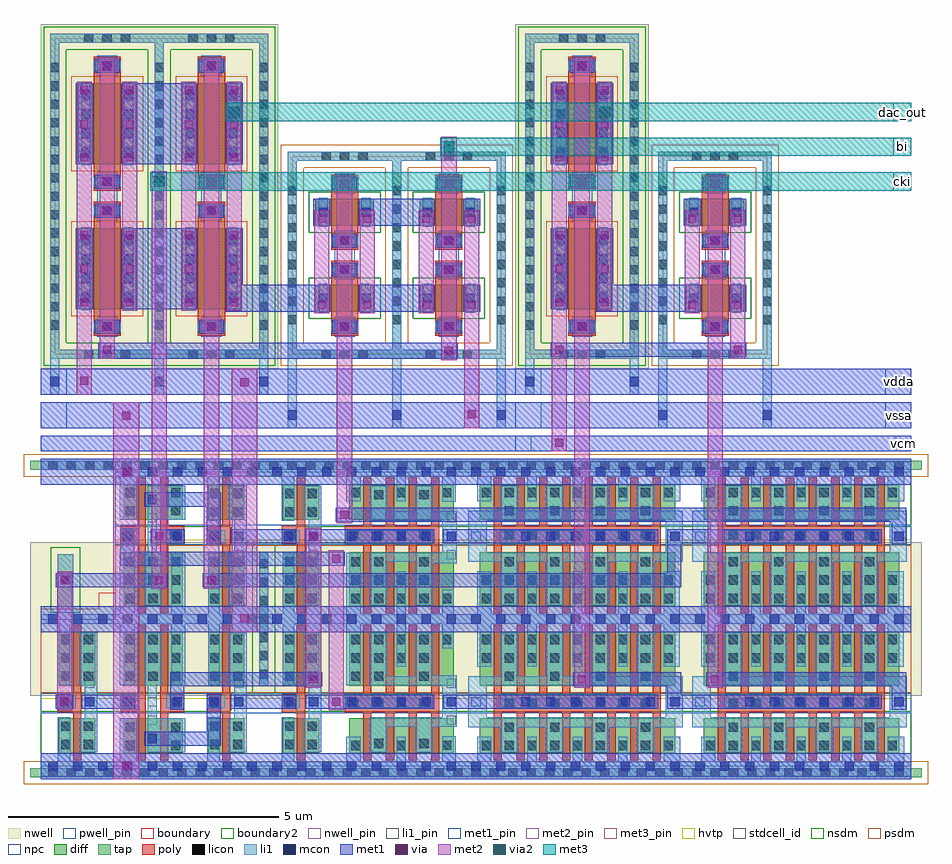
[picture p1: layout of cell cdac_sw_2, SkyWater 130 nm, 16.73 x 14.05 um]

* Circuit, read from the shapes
.subckt cdac_sw_2 bi cki dac_out vcm vdda vssa
XM1 nooverlap_clk_0/sky130_fd_sc_hd__nand2_1_1/B cki vssa vssa sky130_fd_pr__nfet_01v8 w=0.65 l=0.15
XM2 n1 nooverlap_clk_0/sky130_fd_sc_hd__nand2_1_1/B vssa vssa sky130_fd_pr__nfet_01v8 w=0.65 l=0.15
XM3 n2 nooverlap_clk_0/sky130_fd_sc_hd__inv_4_8/A vssa vssa sky130_fd_pr__nfet_01v8 w=0.65 l=0.15
XM4 nooverlap_clk_0/sky130_fd_sc_hd__inv_1_4/A nooverlap_clk_0/sky130_fd_sc_hd__inv_4_7/A n1 vssa sky130_fd_pr__nfet_01v8 w=0.65 l=0.15
XM5 nooverlap_clk_0/sky130_fd_sc_hd__inv_1_3/A cki n2 vssa sky130_fd_pr__nfet_01v8 w=0.65 l=0.15
XM6 nooverlap_clk_0/sky130_fd_sc_hd__inv_1_6/A nooverlap_clk_0/sky130_fd_sc_hd__inv_1_4/A vssa vssa sky130_fd_pr__nfet_01v8 w=0.65 l=0.15
XM7 nooverlap_clk_0/sky130_fd_sc_hd__inv_1_5/A nooverlap_clk_0/sky130_fd_sc_hd__inv_1_3/A vssa vssa sky130_fd_pr__nfet_01v8 w=0.65 l=0.15
XM8 nooverlap_clk_0/sky130_fd_sc_hd__inv_4_8/A nooverlap_clk_0/sky130_fd_sc_hd__inv_1_6/A vssa vssa sky130_fd_pr__nfet_01v8 w=0.65 l=0.15
XM9 nooverlap_clk_0/sky130_fd_sc_hd__inv_4_7/A nooverlap_clk_0/sky130_fd_sc_hd__inv_1_5/A vssa vssa sky130_fd_pr__nfet_01v8 w=0.65 l=0.15
XM10 n3 dac_sw_2_1/ck dac_out vssa sky130_fd_pr__nfet_01v8 w=0.5 l=0.5 m=2
XM11 nooverlap_clk_0/sky130_fd_sc_hd__inv_8_10/A nooverlap_clk_0/sky130_fd_sc_hd__inv_4_8/A vssa vssa sky130_fd_pr__nfet_01v8 w=0.65 l=0.15 m=4
XM12 nooverlap_clk_0/sky130_fd_sc_hd__inv_8_9/A nooverlap_clk_0/sky130_fd_sc_hd__inv_4_7/A vssa vssa sky130_fd_pr__nfet_01v8 w=0.65 l=0.15 m=4
XM13 vssa bi n3 vssa sky130_fd_pr__nfet_01v8 w=0.5 l=0.5 m=2
XM14 nooverlap_clk_0/clkb1 nooverlap_clk_0/sky130_fd_sc_hd__inv_8_10/A vssa vssa sky130_fd_pr__nfet_01v8 w=0.65 l=0.15 m=8
XM15 dac_sw_2_1/ckb nooverlap_clk_0/sky130_fd_sc_hd__inv_8_9/A vssa vssa sky130_fd_pr__nfet_01v8 w=0.65 l=0.15 m=8
XM16 vcm nooverlap_clk_0/clk1 dac_out vssa sky130_fd_pr__nfet_01v8 w=0.5 l=0.5 m=2
XM17 nooverlap_clk_0/clk1 nooverlap_clk_0/clkb1 vssa vssa sky130_fd_pr__nfet_01v8 w=0.65 l=0.15 m=8
XM18 dac_sw_2_1/ck dac_sw_2_1/ckb vssa vssa sky130_fd_pr__nfet_01v8 w=0.65 l=0.15 m=8
XM19 nooverlap_clk_0/sky130_fd_sc_hd__nand2_1_1/B cki vdda vdda sky130_fd_pr__pfet_01v8_hvt w=1 l=0.15
XM20 n4 bi vdda vdda sky130_fd_pr__pfet_01v8 w=1.5 l=0.5 m=2
XM21 nooverlap_clk_0/sky130_fd_sc_hd__inv_1_4/A nooverlap_clk_0/sky130_fd_sc_hd__nand2_1_1/B vdda vdda sky130_fd_pr__pfet_01v8_hvt w=1 l=0.15
XM22 nooverlap_clk_0/sky130_fd_sc_hd__inv_1_3/A nooverlap_clk_0/sky130_fd_sc_hd__inv_4_8/A vdda vdda sky130_fd_pr__pfet_01v8_hvt w=1 l=0.15
XM23 vdda nooverlap_clk_0/sky130_fd_sc_hd__inv_4_7/A nooverlap_clk_0/sky130_fd_sc_hd__inv_1_4/A vdda sky130_fd_pr__pfet_01v8_hvt w=1 l=0.15
XM24 vdda cki nooverlap_clk_0/sky130_fd_sc_hd__inv_1_3/A vdda sky130_fd_pr__pfet_01v8_hvt w=1 l=0.15
XM25 dac_out dac_sw_2_1/ckb n4 vdda sky130_fd_pr__pfet_01v8 w=1.5 l=0.5 m=2
XM26 nooverlap_clk_0/sky130_fd_sc_hd__inv_1_6/A nooverlap_clk_0/sky130_fd_sc_hd__inv_1_4/A vdda vdda sky130_fd_pr__pfet_01v8_hvt w=1 l=0.15
XM27 nooverlap_clk_0/sky130_fd_sc_hd__inv_1_5/A nooverlap_clk_0/sky130_fd_sc_hd__inv_1_3/A vdda vdda sky130_fd_pr__pfet_01v8_hvt w=1 l=0.15
XM28 nooverlap_clk_0/sky130_fd_sc_hd__inv_4_8/A nooverlap_clk_0/sky130_fd_sc_hd__inv_1_6/A vdda vdda sky130_fd_pr__pfet_01v8_hvt w=1 l=0.15
XM29 nooverlap_clk_0/sky130_fd_sc_hd__inv_4_7/A nooverlap_clk_0/sky130_fd_sc_hd__inv_1_5/A vdda vdda sky130_fd_pr__pfet_01v8_hvt w=1 l=0.15
XM30 nooverlap_clk_0/sky130_fd_sc_hd__inv_8_10/A nooverlap_clk_0/sky130_fd_sc_hd__inv_4_8/A vdda vdda sky130_fd_pr__pfet_01v8_hvt w=1 l=0.15 m=4
XM31 nooverlap_clk_0/sky130_fd_sc_hd__inv_8_9/A nooverlap_clk_0/sky130_fd_sc_hd__inv_4_7/A vdda vdda sky130_fd_pr__pfet_01v8_hvt w=1 l=0.15 m=4
XM32 nooverlap_clk_0/clkb1 nooverlap_clk_0/sky130_fd_sc_hd__inv_8_10/A vdda vdda sky130_fd_pr__pfet_01v8_hvt w=1 l=0.15 m=8
XM33 dac_sw_2_1/ckb nooverlap_clk_0/sky130_fd_sc_hd__inv_8_9/A vdda vdda sky130_fd_pr__pfet_01v8_hvt w=1 l=0.15 m=8
XM34 dac_out nooverlap_clk_0/clkb1 vcm vdda sky130_fd_pr__pfet_01v8 w=1.5 l=0.5 m=2
XM35 nooverlap_clk_0/clk1 nooverlap_clk_0/clkb1 vdda vdda sky130_fd_pr__pfet_01v8_hvt w=1 l=0.15 m=8
XM36 dac_sw_2_1/ck dac_sw_2_1/ckb vdda vdda sky130_fd_pr__pfet_01v8_hvt w=1 l=0.15 m=8
.ends

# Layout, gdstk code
import gdstk
lib = gdstk.Library(unit=1e-6, precision=1e-09)
def R(c, l, rs):  # rectangles x0, y0, x1, y1
    for r in rs: c.add(gdstk.rectangle(r[:2], r[2:], *l))
def A(c, l, x, y, w, h, nx, ny, dx, dy):  # array of equal rectangles
    R(c, l, [(x+i*dx, y+j*dy, x+i*dx+w, y+j*dy+h) for i in range(nx) for j in range(ny)])
def P(c, l, *ps):  # polygons
    for p in ps: c.add(gdstk.Polygon(p, *l))
nwell_pin = (64, 16)
nwell = (64, 20)
diff = (65, 20)
tap = (65, 44)
poly = (66, 20)
licon = (66, 44)
li1_pin = (67, 16)
li1 = (67, 20)
mcon = (67, 44)
met1_pin = (68, 16)
met1 = (68, 20)
via = (68, 44)
met2_pin = (69, 16)
met2 = (69, 20)
via2 = (69, 44)
met3_pin = (70, 16)
met3 = (70, 20)
hvtp = (78, 44)
stdcell_id = (81, 4)
nsdm = (93, 44)
psdm = (94, 20)
npc = (95, 20)
pwell_pin = (122, 16)
boundary = (235, 4)
boundary2 = (236, 0)

sky130_fd_sc_hd__nand2_1 = lib.new_cell('sky130_fd_sc_hd__nand2_1')
R(sky130_fd_sc_hd__nand2_1, nwell_pin, [(0.14,2.635,0.31,2.805)])
R(sky130_fd_sc_hd__nand2_1, nwell, [(-0.19,1.305,1.57,2.91)])
R(sky130_fd_sc_hd__nand2_1, diff, [(0.155,0.235,1.245,0.885), (0.155,1.485,1.245,2.485)])
P(sky130_fd_sc_hd__nand2_1, poly, [(1.275,1.325),(0.985,1.325),(0.985,2.615),(0.835,2.615),(0.835,0.105),(0.985,0.105),(0.985,0.995),(1.275,0.995)],
  [(0.565,2.615),(0.415,2.615),(0.415,1.325),(0.105,1.325),(0.105,0.995),(0.415,0.995),(0.415,0.105),(0.565,0.105)])
A(sky130_fd_sc_hd__nand2_1, licon, 0.195, 1.575, 0.17, 0.17, 3, 3, 0.42, 0.34)
R(sky130_fd_sc_hd__nand2_1, licon, [(0.195,0.295,0.365,0.465), (1.035,0.295,1.205,0.465), (0.195,0.635,0.365,0.805), (1.035,0.635,1.205,0.805), (0.18,1.075,0.35,1.245), (1.02,1.075,1.19,1.245)])
A(sky130_fd_sc_hd__nand2_1, li1_pin, 0.14, 1.105, 0.17, 0.17, 3, 1, 0.46, 0)
R(sky130_fd_sc_hd__nand2_1, li1_pin, [(0.6,0.425,0.77,0.595), (0.6,0.765,0.77,0.935)])
R(sky130_fd_sc_hd__nand2_1, li1, [(0.095,1.055,0.43,1.325), (0.94,1.075,1.275,1.325)])
P(sky130_fd_sc_hd__nand2_1, li1, [(1.38,0.085),(0.395,0.085),(0.395,0.885),(0.085,0.885),(0.085,0.085),(0,0.085),(0,-0.085),(1.38,-0.085)],
  [(1.38,2.805),(0,2.805),(0,2.635),(0.085,2.635),(0.085,1.495),(0.365,1.495),(0.365,2.635),(1.035,2.635),(1.035,1.495),(1.295,1.495),(1.295,2.635),(1.38,2.635)],
  [(1.295,0.885),(0.77,0.885),(0.77,1.485),(0.865,1.485),(0.865,2.465),(0.535,2.465),(0.535,1.485),(0.6,1.485),(0.6,0.255),(1.295,0.255)])
A(sky130_fd_sc_hd__nand2_1, mcon, 0.145, -0.085, 0.17, 0.17, 3, 2, 0.46, 2.72)
R(sky130_fd_sc_hd__nand2_1, met1_pin, [(0.14,-0.085,0.31,0.085), (0.14,2.635,0.31,2.805)])
R(sky130_fd_sc_hd__nand2_1, hvtp, [(0,1.25,1.38,2.72)])
R(sky130_fd_sc_hd__nand2_1, stdcell_id, [(0,0,1.38,2.72)])
R(sky130_fd_sc_hd__nand2_1, nsdm, [(0,-0.19,1.38,1.015)])
R(sky130_fd_sc_hd__nand2_1, psdm, [(0,1.355,1.38,2.91)])
R(sky130_fd_sc_hd__nand2_1, npc, [(0,0.975,1.38,1.345)])
R(sky130_fd_sc_hd__nand2_1, pwell_pin, [(0.14,-0.085,0.31,0.085)])
R(sky130_fd_sc_hd__nand2_1, boundary2, [(0,0,1.38,2.72)])
sky130_fd_sc_hd__nand2_1.add(gdstk.FlexPath([(0,2.72),(1.38,2.72)], 0.48, ends="flush", simple_path=True, layer=68, datatype=20))  # met1
sky130_fd_sc_hd__nand2_1.add(gdstk.FlexPath([(0,0),(1.38,0)], 0.48, ends="flush", simple_path=True, layer=68, datatype=20))  # met1
sky130_fd_sc_hd__nand2_1.add(gdstk.Label('Y', (0.685,0.51), layer=67, texttype=5))
sky130_fd_sc_hd__nand2_1.add(gdstk.Label('Y', (0.685,0.85), layer=67, texttype=5))
sky130_fd_sc_hd__nand2_1.add(gdstk.Label('Y', (0.685,1.19), layer=67, texttype=5))
sky130_fd_sc_hd__nand2_1.add(gdstk.Label('B', (0.225,1.19), layer=67, texttype=5))
sky130_fd_sc_hd__nand2_1.add(gdstk.Label('A', (1.145,1.19), layer=67, texttype=5))
sky130_fd_sc_hd__nand2_1.add(gdstk.Label('VPB', (0.225,2.72), layer=64, texttype=5))
sky130_fd_sc_hd__nand2_1.add(gdstk.Label('VNB', (0.225,0), layer=64, texttype=59))
sky130_fd_sc_hd__nand2_1.add(gdstk.Label('VGND', (0.23,0), layer=68, texttype=5))
sky130_fd_sc_hd__nand2_1.add(gdstk.Label('VPWR', (0.225,2.72), layer=68, texttype=5))
sky130_fd_sc_hd__nand2_1.add(gdstk.Label('nand2_1', (0,0), layer=83, texttype=44))

sky130_fd_sc_hd__inv_1 = lib.new_cell('sky130_fd_sc_hd__inv_1')
R(sky130_fd_sc_hd__inv_1, nwell_pin, [(0.145,2.635,0.315,2.805), (0.145,2.635,0.315,2.805)])
R(sky130_fd_sc_hd__inv_1, nwell, [(-0.19,1.305,1.57,2.91)])
R(sky130_fd_sc_hd__inv_1, diff, [(0.34,0.235,1.01,0.885), (0.34,1.485,1.01,2.485)])
P(sky130_fd_sc_hd__inv_1, poly, [(0.75,2.615),(0.6,2.615),(0.6,1.325),(0.32,1.325),(0.32,0.995),(0.6,0.995),(0.6,0.105),(0.75,0.105)])
A(sky130_fd_sc_hd__inv_1, licon, 0.38, 1.575, 0.17, 0.17, 1, 3, 0, 0.34)
A(sky130_fd_sc_hd__inv_1, licon, 0.8, 1.575, 0.17, 0.17, 1, 3, 0, 0.34)
R(sky130_fd_sc_hd__inv_1, licon, [(0.38,0.315,0.55,0.485), (0.8,0.315,0.97,0.485), (0.38,0.655,0.55,0.825), (0.8,0.655,0.97,0.825), (0.4,1.075,0.57,1.245)])
R(sky130_fd_sc_hd__inv_1, li1_pin, [(0.36,1.105,0.53,1.275), (0.82,1.105,0.99,1.275), (0.82,1.445,0.99,1.615)])
R(sky130_fd_sc_hd__inv_1, li1, [(0,-0.085,1.38,0.085), (0.32,0.005,0.55,0.905), (0.32,1.075,0.65,1.315), (0.34,1.495,0.55,2.675), (0,2.635,1.38,2.805)])
P(sky130_fd_sc_hd__inv_1, li1, [(1.05,2.465),(0.72,2.465),(0.72,1.485),(0.82,1.485),(0.82,0.885),(0.72,0.885),(0.72,0.255),(1.05,0.255)])
A(sky130_fd_sc_hd__inv_1, mcon, 0.145, -0.085, 0.17, 0.17, 3, 2, 0.46, 2.72)
R(sky130_fd_sc_hd__inv_1, met1_pin, [(0.145,-0.085,0.315,0.085), (0.145,-0.085,0.315,0.085), (0.145,2.635,0.315,2.805), (0.145,2.635,0.315,2.805)])
R(sky130_fd_sc_hd__inv_1, hvtp, [(0,1.25,1.38,2.72)])
R(sky130_fd_sc_hd__inv_1, stdcell_id, [(0,0,1.38,2.72)])
R(sky130_fd_sc_hd__inv_1, nsdm, [(0,-0.19,1.38,1.015)])
R(sky130_fd_sc_hd__inv_1, psdm, [(0,1.355,1.38,2.91)])
R(sky130_fd_sc_hd__inv_1, npc, [(0,0.975,1.38,1.345)])
R(sky130_fd_sc_hd__inv_1, pwell_pin, [(0.145,-0.085,0.315,0.085), (0.145,-0.085,0.315,0.085)])
R(sky130_fd_sc_hd__inv_1, boundary2, [(0,0,1.38,2.72)])
sky130_fd_sc_hd__inv_1.add(gdstk.FlexPath([(0,2.72),(1.38,2.72)], 0.48, ends="flush", simple_path=True, layer=68, datatype=20))  # met1
sky130_fd_sc_hd__inv_1.add(gdstk.FlexPath([(0,0),(1.38,0)], 0.48, ends="flush", simple_path=True, layer=68, datatype=20))  # met1
sky130_fd_sc_hd__inv_1.add(gdstk.Label('Y', (0.905,1.53), layer=67, texttype=5))
sky130_fd_sc_hd__inv_1.add(gdstk.Label('Y', (0.905,1.19), layer=67, texttype=5))
sky130_fd_sc_hd__inv_1.add(gdstk.Label('A', (0.445,1.19), layer=67, texttype=5))
sky130_fd_sc_hd__inv_1.add(gdstk.Label('VPB', (0.23,2.72), layer=64, texttype=5))
sky130_fd_sc_hd__inv_1.add(gdstk.Label('VNB', (0.23,0), layer=64, texttype=59))
sky130_fd_sc_hd__inv_1.add(gdstk.Label('VGND', (0.23,0), layer=68, texttype=5))
sky130_fd_sc_hd__inv_1.add(gdstk.Label('VPWR', (0.23,2.72), layer=68, texttype=5))
sky130_fd_sc_hd__inv_1.add(gdstk.Label('inv_1', (0,0), layer=83, texttype=44))

sky130_fd_sc_hd__inv_4 = lib.new_cell('sky130_fd_sc_hd__inv_4')
R(sky130_fd_sc_hd__inv_4, nwell_pin, [(0.145,2.635,0.315,2.805)])
R(sky130_fd_sc_hd__inv_4, nwell, [(-0.19,1.305,2.49,2.91)])
R(sky130_fd_sc_hd__inv_4, diff, [(0.185,0.235,2.115,0.885), (0.185,1.485,2.115,2.485)])
P(sky130_fd_sc_hd__inv_4, poly, [(1.855,2.615),(1.705,2.615),(1.705,1.325),(1.435,1.325),(1.435,2.615),(1.285,2.615),(1.285,1.325),(1.015,1.325),(1.015,2.615),(0.865,2.615),(0.865,1.325),(0.595,1.325),(0.595,2.615),(0.445,2.615),(0.445,1.325),(0.105,1.325),(0.105,0.995),(0.445,0.995),(0.445,0.105),(0.595,0.105),(0.595,0.995),(0.865,0.995),(0.865,0.105),(1.015,0.105),(1.015,0.995),(1.285,0.995),(1.285,0.105),(1.435,0.105),(1.435,0.995),(1.705,0.995),(1.705,0.105),(1.855,0.105)])
A(sky130_fd_sc_hd__inv_4, licon, 0.645, 1.075, 0.17, 0.17, 3, 1, 0.42, 0)
A(sky130_fd_sc_hd__inv_4, licon, 0.225, 1.915, 0.17, 0.17, 4, 1, 0.42, 0)
A(sky130_fd_sc_hd__inv_4, licon, 0.225, 2.255, 0.17, 0.17, 5, 1, 0.42, 0)
R(sky130_fd_sc_hd__inv_4, licon, [(0.225,0.295,0.395,0.465), (1.065,0.295,1.235,0.465), (1.905,0.3,2.075,0.47), (0.645,0.335,0.815,0.505), (1.485,0.335,1.655,0.505), (0.185,1.075,0.355,1.245), (0.225,1.575,0.395,1.745), (0.645,1.575,0.815,1.745), (1.485,1.575,1.655,1.745)])
A(sky130_fd_sc_hd__inv_4, li1_pin, 0.145, 1.105, 0.17, 0.17, 5, 1, 0.46, 0)
R(sky130_fd_sc_hd__inv_4, li1_pin, [(1.985,0.765,2.155,0.935), (1.985,1.445,2.155,1.615)])
R(sky130_fd_sc_hd__inv_4, li1, [(0.105,1.075,1.735,1.325)])
P(sky130_fd_sc_hd__inv_4, li1, [(2.3,0.085),(2.155,0.085),(2.155,0.55),(1.905,0.55),(1.905,0.085),(1.235,0.085),(1.235,0.545),(1.065,0.545),(1.065,0.085),(0.395,0.085),(0.395,0.545),(0.13,0.545),(0.13,0.085),(0,0.085),(0,-0.085),(2.3,-0.085)],
  [(2.3,2.805),(0,2.805),(0,2.635),(0.13,2.635),(0.13,1.495),(0.395,1.495),(0.395,2.635),(1.065,2.635),(1.065,1.835),(1.235,1.835),(1.235,2.635),(1.905,2.635),(1.905,2.175),(2.115,2.175),(2.115,2.635),(2.3,2.635)],
  [(2.17,1.685),(1.735,1.685),(1.735,2.465),(1.405,2.465),(1.405,1.665),(0.895,1.665),(0.895,2.465),(0.565,2.465),(0.565,1.495),(1.905,1.495),(1.905,0.905),(0.565,0.905),(0.565,0.255),(0.895,0.255),(0.895,0.725),(1.405,0.725),(1.405,0.255),(1.735,0.255),(1.735,0.725),(2.17,0.725)])
A(sky130_fd_sc_hd__inv_4, mcon, 0.145, -0.085, 0.17, 0.17, 5, 2, 0.46, 2.72)
R(sky130_fd_sc_hd__inv_4, met1_pin, [(0.145,-0.085,0.315,0.085), (0.145,2.635,0.315,2.805)])
R(sky130_fd_sc_hd__inv_4, hvtp, [(0,1.25,2.3,2.72)])
R(sky130_fd_sc_hd__inv_4, stdcell_id, [(0,0,2.3,2.72)])
R(sky130_fd_sc_hd__inv_4, nsdm, [(0,-0.19,2.3,1.015)])
R(sky130_fd_sc_hd__inv_4, psdm, [(0,1.355,2.3,2.91)])
R(sky130_fd_sc_hd__inv_4, npc, [(0,0.975,2.3,1.345)])
R(sky130_fd_sc_hd__inv_4, pwell_pin, [(0.145,-0.085,0.315,0.085)])
R(sky130_fd_sc_hd__inv_4, boundary2, [(0,0,2.3,2.72)])
sky130_fd_sc_hd__inv_4.add(gdstk.FlexPath([(0,2.72),(2.3,2.72)], 0.48, ends="flush", simple_path=True, layer=68, datatype=20))  # met1
sky130_fd_sc_hd__inv_4.add(gdstk.FlexPath([(0,0),(2.3,0)], 0.48, ends="flush", simple_path=True, layer=68, datatype=20))  # met1
sky130_fd_sc_hd__inv_4.add(gdstk.Label('Y', (2.07,0.85), layer=67, texttype=5))
sky130_fd_sc_hd__inv_4.add(gdstk.Label('Y', (2.07,1.19), layer=67, texttype=5))
sky130_fd_sc_hd__inv_4.add(gdstk.Label('Y', (2.07,1.53), layer=67, texttype=5))
sky130_fd_sc_hd__inv_4.add(gdstk.Label('A', (0.23,1.19), layer=67, texttype=5))
sky130_fd_sc_hd__inv_4.add(gdstk.Label('A', (0.69,1.19), layer=67, texttype=5))
sky130_fd_sc_hd__inv_4.add(gdstk.Label('A', (1.15,1.19), layer=67, texttype=5))
sky130_fd_sc_hd__inv_4.add(gdstk.Label('A', (1.61,1.19), layer=67, texttype=5))
sky130_fd_sc_hd__inv_4.add(gdstk.Label('VPB', (0.23,2.72), layer=64, texttype=5))
sky130_fd_sc_hd__inv_4.add(gdstk.Label('VNB', (0.23,0), layer=64, texttype=59))
sky130_fd_sc_hd__inv_4.add(gdstk.Label('VPWR', (0.23,2.72), layer=68, texttype=5))
sky130_fd_sc_hd__inv_4.add(gdstk.Label('VGND', (0.23,0), layer=68, texttype=5))
sky130_fd_sc_hd__inv_4.add(gdstk.Label('inv_4', (0,0), layer=83, texttype=44))

sky130_fd_sc_hd__inv_8 = lib.new_cell('sky130_fd_sc_hd__inv_8')
R(sky130_fd_sc_hd__inv_8, nwell_pin, [(0.145,2.635,0.315,2.805)])
R(sky130_fd_sc_hd__inv_8, nwell, [(-0.19,1.305,4.33,2.91)])
R(sky130_fd_sc_hd__inv_8, diff, [(0.3,0.235,3.91,0.885), (0.3,1.485,3.91,2.485)])
P(sky130_fd_sc_hd__inv_8, poly, [(3.65,2.615),(3.5,2.615),(3.5,1.325),(3.23,1.325),(3.23,2.615),(3.08,2.615),(3.08,1.325),(2.81,1.325),(2.81,2.615),(2.66,2.615),(2.66,1.325),(2.39,1.325),(2.39,2.615),(2.24,2.615),(2.24,1.325),(1.97,1.325),(1.97,2.615),(1.82,2.615),(1.82,1.325),(1.55,1.325),(1.55,2.615),(1.4,2.615),(1.4,1.325),(1.13,1.325),(1.13,2.615),(0.98,2.615),(0.98,1.325),(0.71,1.325),(0.71,2.615),(0.56,2.615),(0.56,0.105),(0.71,0.105),(0.71,0.995),(0.98,0.995),(0.98,0.105),(1.13,0.105),(1.13,0.995),(1.4,0.995),(1.4,0.105),(1.55,0.105),(1.55,0.995),(1.82,0.995),(1.82,0.105),(1.97,0.105),(1.97,0.995),(2.24,0.995),(2.24,0.105),(2.39,0.105),(2.39,0.995),(2.66,0.995),(2.66,0.105),(2.81,0.105),(2.81,0.995),(3.08,0.995),(3.08,0.105),(3.23,0.105),(3.23,0.995),(3.5,0.995),(3.5,0.105),(3.65,0.105)])
A(sky130_fd_sc_hd__inv_8, licon, 0.34, 0.295, 0.17, 0.17, 9, 2, 0.42, 1.62)
A(sky130_fd_sc_hd__inv_8, licon, 0.76, 0.635, 0.17, 0.17, 4, 2, 0.84, 0.94)
A(sky130_fd_sc_hd__inv_8, licon, 0.76, 1.075, 0.17, 0.17, 7, 1, 0.42, 0)
A(sky130_fd_sc_hd__inv_8, licon, 0.34, 2.255, 0.17, 0.17, 9, 1, 0.42, 0)
A(sky130_fd_sc_hd__inv_8, li1_pin, 1.065, 1.105, 0.17, 0.17, 7, 1, 0.46, 0)
R(sky130_fd_sc_hd__inv_8, li1_pin, [(0.145,1.105,0.315,1.275)])
R(sky130_fd_sc_hd__inv_8, li1, [(0.68,1.075,3.535,1.325)])
P(sky130_fd_sc_hd__inv_8, li1, [(4.055,1.665),(3.735,1.665),(3.735,0.905),(0.43,0.905),(0.43,1.495),(3.735,1.495),(3.735,1.665),(3.53,1.665),(3.53,2.465),(3.2,2.465),(3.2,1.665),(2.69,1.665),(2.69,2.465),(2.36,2.465),(2.36,1.665),(1.85,1.665),(1.85,2.465),(1.52,2.465),(1.52,1.665),(1.01,1.665),(1.01,2.465),(0.68,2.465),(0.68,1.665),(0.085,1.665),(0.085,0.715),(0.68,0.715),(0.68,0.255),(1.01,0.255),(1.01,0.715),(1.52,0.715),(1.52,0.255),(1.85,0.255),(1.85,0.715),(2.36,0.715),(2.36,0.255),(2.69,0.255),(2.69,0.715),(3.2,0.715),(3.2,0.255),(3.53,0.255),(3.53,0.715),(4.055,0.715)],
  [(4.14,0.085),(4.005,0.085),(4.005,0.545),(3.7,0.545),(3.7,0.085),(3.03,0.085),(3.03,0.545),(2.86,0.545),(2.86,0.085),(2.19,0.085),(2.19,0.545),(2.02,0.545),(2.02,0.085),(1.35,0.085),(1.35,0.545),(1.18,0.545),(1.18,0.085),(0.51,0.085),(0.51,0.545),(0.255,0.545),(0.255,0.085),(0,0.085),(0,-0.085),(4.14,-0.085)],
  [(4.14,2.805),(0,2.805),(0,2.635),(0.255,2.635),(0.255,1.835),(0.51,1.835),(0.51,2.635),(1.18,2.635),(1.18,1.835),(1.35,1.835),(1.35,2.635),(2.02,2.635),(2.02,1.835),(2.19,1.835),(2.19,2.635),(2.86,2.635),(2.86,1.835),(3.03,1.835),(3.03,2.635),(3.7,2.635),(3.7,1.835),(4,1.835),(4,2.635),(4.14,2.635)])
A(sky130_fd_sc_hd__inv_8, mcon, 0.145, -0.085, 0.17, 0.17, 9, 2, 0.46, 2.72)
R(sky130_fd_sc_hd__inv_8, met1_pin, [(0.145,-0.085,0.315,0.085), (0.145,2.635,0.315,2.805)])
R(sky130_fd_sc_hd__inv_8, hvtp, [(0,1.25,4.14,2.72)])
R(sky130_fd_sc_hd__inv_8, stdcell_id, [(0,0,4.14,2.72)])
R(sky130_fd_sc_hd__inv_8, nsdm, [(0,-0.19,4.14,1.015)])
R(sky130_fd_sc_hd__inv_8, psdm, [(0,1.355,4.14,2.91)])
R(sky130_fd_sc_hd__inv_8, npc, [(0,0.975,4.14,1.345)])
R(sky130_fd_sc_hd__inv_8, pwell_pin, [(0.145,-0.085,0.315,0.085)])
R(sky130_fd_sc_hd__inv_8, boundary2, [(0,0,4.14,2.72)])
sky130_fd_sc_hd__inv_8.add(gdstk.FlexPath([(0,2.72),(4.14,2.72)], 0.48, ends="flush", simple_path=True, layer=68, datatype=20))  # met1
sky130_fd_sc_hd__inv_8.add(gdstk.FlexPath([(0,0),(4.14,0)], 0.48, ends="flush", simple_path=True, layer=68, datatype=20))  # met1
sky130_fd_sc_hd__inv_8.add(gdstk.Label('A', (1.15,1.19), layer=67, texttype=5))
sky130_fd_sc_hd__inv_8.add(gdstk.Label('A', (1.61,1.19), layer=67, texttype=5))
sky130_fd_sc_hd__inv_8.add(gdstk.Label('A', (2.07,1.19), layer=67, texttype=5))
sky130_fd_sc_hd__inv_8.add(gdstk.Label('A', (2.53,1.19), layer=67, texttype=5))
sky130_fd_sc_hd__inv_8.add(gdstk.Label('A', (2.99,1.19), layer=67, texttype=5))
sky130_fd_sc_hd__inv_8.add(gdstk.Label('A', (3.45,1.19), layer=67, texttype=5))
sky130_fd_sc_hd__inv_8.add(gdstk.Label('Y', (3.91,1.19), layer=67, texttype=5))
sky130_fd_sc_hd__inv_8.add(gdstk.Label('Y', (0.23,1.19), layer=67, texttype=5))
sky130_fd_sc_hd__inv_8.add(gdstk.Label('VNB', (0.23,0), layer=64, texttype=59))
sky130_fd_sc_hd__inv_8.add(gdstk.Label('VPB', (0.23,2.72), layer=64, texttype=5))
sky130_fd_sc_hd__inv_8.add(gdstk.Label('VGND', (0.23,0), layer=68, texttype=5))
sky130_fd_sc_hd__inv_8.add(gdstk.Label('VPWR', (0.23,2.72), layer=68, texttype=5))
sky130_fd_sc_hd__inv_8.add(gdstk.Label('inv_8', (0,0), layer=83, texttype=44))

nooverlap_clk = lib.new_cell('nooverlap_clk')
R(nooverlap_clk, nwell, [(-2.81,-2.365,13.67,0.445), (-2.81,0.445,0.035,0.46), (0.065,0.445,13.67,0.46)])
R(nooverlap_clk, tap, [(-2.81,-3.88,13.67,-3.71), (1.42,-2.19,1.59,0.28), (-2.305,-0.715,-2.015,0.245), (-2.81,1.8,13.67,1.97)])
A(nooverlap_clk, licon, -2.475, -3.88, 0.17, 0.17, 47, 2, 0.34, 5.68)
A(nooverlap_clk, licon, 1.42, -2.06, 0.17, 0.17, 1, 7, 0, 0.34)
R(nooverlap_clk, licon, [(-2.245,-0.315,-2.075,-0.145)])
A(nooverlap_clk, li1, 3.045, -2.57, 0.17, 0.17, 5, 2, 0.46, 3.06)
A(nooverlap_clk, li1, 6.265, -2.57, 0.17, 0.17, 7, 2, 0.46, 3.06)
A(nooverlap_clk, li1, 10.405, -2.57, 0.17, 0.17, 7, 2, 0.46, 3.06)
R(nooverlap_clk, li1, [(-2.62,-3.88,13.48,-3.71), (-0.64,-3.25,-0.47,-3.08), (-2.26,-2.57,-2.09,-2.4), (-1.8,-2.57,-1.63,-2.4), (-1.1,-2.57,-0.93,-2.4), (-0.18,-2.57,-0.01,-2.4), (0.5,-2.57,0.67,-2.4), (0.96,-2.57,1.13,-2.4), (1.88,-2.57,2.05,-2.4), (2.34,-2.57,2.51,-2.4), (1.42,-2.19,1.59,0.28), (-2.305,-0.91,-2.015,0.245), (-1.1,0.49,-0.93,0.66), (-0.18,0.49,-0.01,0.66), (0.5,0.49,0.67,0.66), (0.96,0.49,1.13,0.66), (1.88,0.49,2.05,0.66), (2.34,0.49,2.51,0.66), (-0.64,1.17,-0.47,1.34), (-2.62,1.8,13.48,1.97)])
A(nooverlap_clk, mcon, 3.045, -2.57, 0.17, 0.17, 5, 2, 0.46, 3.06)
A(nooverlap_clk, mcon, 6.265, -2.57, 0.17, 0.17, 7, 2, 0.46, 3.06)
A(nooverlap_clk, mcon, 10.405, -2.57, 0.17, 0.17, 7, 2, 0.46, 3.06)
R(nooverlap_clk, mcon, [(-0.64,-3.25,-0.47,-3.08), (-2.26,-2.57,-2.09,-2.4), (-1.8,-2.57,-1.63,-2.4), (-1.1,-2.57,-0.93,-2.4), (-0.18,-2.57,-0.01,-2.4), (0.5,-2.57,0.67,-2.4), (0.96,-2.57,1.13,-2.4), (1.88,-2.57,2.05,-2.4), (2.34,-2.57,2.51,-2.4), (-1.1,0.49,-0.93,0.66), (-0.18,0.49,-0.01,0.66), (0.5,0.49,0.67,0.66), (0.96,0.49,1.13,0.66), (1.88,0.49,2.05,0.66), (2.34,0.49,2.51,0.66), (-0.64,1.17,-0.47,1.34)])
R(nooverlap_clk, met1, [(-1.275,-3.885,-0.795,-3.435), (-0.7,-3.295,0.715,-3.035), (0.455,-3.035,0.715,-2.34), (-0.225,-2.63,0.035,-2.2), (13.12,-2.63,13.38,-2.2), (-2.335,-2.615,-2.015,-2.355), (-1.86,-2.615,-0.87,-2.355), (0.9,-2.615,2.11,-2.355), (2.28,-2.615,4.655,-2.355), (4.825,-2.615,8.795,-2.355), (8.965,-2.615,12.935,-2.355), (8.965,-2.355,9.225,-2.2), (-0.225,-2.2,2.585,-1.94), (7.23,-2.2,9.225,-1.94), (9.69,-2.2,13.38,-1.94), (0.91,-1.165,1.39,-0.715), (-2.335,-0.37,-0.265,-0.11), (0.38,-0.37,9.225,-0.11), (8.965,-0.11,9.225,0.445), (-1.145,0.03,3.005,0.29), (-1.145,0.29,-0.885,0.72), (13.12,0.425,13.38,0.845), (0.455,0.43,0.715,1.125), (-0.585,0.445,0.05,0.705), (0.9,0.445,2.11,0.705), (2.265,0.445,4.655,0.705), (4.825,0.445,8.795,0.705), (8.965,0.445,12.935,0.705), (2.84,0.845,13.38,1.105), (-0.7,1.125,0.715,1.385), (-2.62,1.525,-0.795,1.975), (-2.62,1.975,-1.24,2.005)])
R(nooverlap_clk, via, [(-1.11,-3.735,-0.96,-3.585), (-2.25,-2.56,-2.1,-2.41), (2.77,-2.56,2.92,-2.41), (2.35,-2.145,2.5,-1.995), (7.315,-2.145,7.465,-1.995), (9.775,-2.145,9.925,-1.995), (1.075,-1.015,1.225,-0.865), (-2.25,-0.315,-2.1,-0.165), (-0.5,-0.315,-0.35,-0.165), (0.465,-0.315,0.615,-0.165), (2.77,0.085,2.92,0.235), (-0.5,0.5,-0.35,0.65), (2.35,0.5,2.5,0.65), (2.925,0.9,3.075,1.05), (-1.11,1.675,-0.96,1.825)])
R(nooverlap_clk, met2_pin, [(-1.275,1.525,-0.795,2.005), (0.91,1.525,1.39,2.005), (-0.565,1.725,-0.285,2.005), (0.4,1.725,0.68,2.005), (2.86,1.725,3.14,2.005), (7.25,1.725,7.53,2.005), (9.71,1.725,9.99,2.005)])
R(nooverlap_clk, met2, [(-1.275,-3.915,-0.795,2.005), (-2.315,-2.645,-2.035,-0.08), (2.705,-2.645,2.985,0.32), (2.285,-2.23,2.565,0.735), (7.25,-2.23,7.53,2.005), (9.71,-2.23,9.99,2.005), (0.91,-1.195,1.39,2.005), (-0.565,-0.4,-0.285,2.005), (0.4,-0.4,0.68,2.005), (2.86,0.815,3.14,2.005)])
R(nooverlap_clk, hvtp, [(-1.005,-1.01,-0.075,-0.9), (0.56,-1.01,1.07,-0.9), (1.94,-1.01,2.45,-0.9), (3.165,-1.01,4.935,-0.9), (5.58,-1.01,9.03,-0.9), (9.72,-1.01,13.17,-0.9)])
R(nooverlap_clk, nsdm, [(-1.485,-3.565,-1.21,-2.665), (0.13,-3.565,0.355,-2.665), (2.655,-3.565,2.96,-2.665), (5.14,-3.565,5.375,-2.665), (9.235,-3.565,9.515,-2.665), (1.275,-2.68,1.735,-2.665), (0.895,-2.665,2.115,-2.315), (1.275,-2.315,1.735,-2.3), (1.295,-2.3,1.715,0.39), (-2.43,-0.84,-1.89,0.37), (1.275,0.39,1.735,0.405), (0.895,0.405,2.115,0.755), (0.13,0.755,0.355,1.655), (1.275,0.755,1.735,0.77), (2.655,0.755,2.96,1.655), (5.14,0.755,5.375,1.655), (9.235,0.755,9.515,1.655)])
R(nooverlap_clk, psdm, [(-2.935,-4.005,13.795,-3.585), (-1.485,-2.315,-1.21,-1.065), (0.13,-2.315,0.355,-1.065), (2.655,-2.315,2.96,-1.065), (5.14,-2.315,5.375,-1.065), (9.235,-2.315,9.515,-1.065), (-1.54,-1.065,1.275,-0.845), (1.735,-1.065,13.375,-0.845), (-1.54,-0.845,-1.21,-0.465), (0.13,-0.845,0.355,0.405), (2.655,-0.845,2.96,0.405), (5.14,-0.845,5.375,0.405), (9.235,-0.845,9.515,0.405), (-2.935,1.675,13.795,2.095)])
nooverlap_clk.add(gdstk.Reference(sky130_fd_sc_hd__nand2_1, (-1.24,1.765), x_reflection=True))
nooverlap_clk.add(gdstk.Reference(sky130_fd_sc_hd__nand2_1, (-1.24,-3.675)))
nooverlap_clk.add(gdstk.Reference(sky130_fd_sc_hd__inv_1, (-2.62,-3.675)))
nooverlap_clk.add(gdstk.Reference(sky130_fd_sc_hd__inv_1, (0.14,1.765), x_reflection=True))
nooverlap_clk.add(gdstk.Reference(sky130_fd_sc_hd__inv_1, (0.14,-3.675)))
nooverlap_clk.add(gdstk.Reference(sky130_fd_sc_hd__inv_1, (1.52,1.765), x_reflection=True))
nooverlap_clk.add(gdstk.Reference(sky130_fd_sc_hd__inv_1, (1.52,-3.675)))
nooverlap_clk.add(gdstk.Reference(sky130_fd_sc_hd__inv_4, (2.9,1.765), x_reflection=True))
nooverlap_clk.add(gdstk.Reference(sky130_fd_sc_hd__inv_4, (2.9,-3.675)))
nooverlap_clk.add(gdstk.Reference(sky130_fd_sc_hd__inv_8, (5.2,1.765), x_reflection=True))
nooverlap_clk.add(gdstk.Reference(sky130_fd_sc_hd__inv_8, (5.2,-3.675)))
nooverlap_clk.add(gdstk.Reference(sky130_fd_sc_hd__inv_8, (9.34,1.765), x_reflection=True))
nooverlap_clk.add(gdstk.Reference(sky130_fd_sc_hd__inv_8, (9.34,-3.675)))
nooverlap_clk.add(gdstk.Label('vdda', (1.15,1.765), layer=69, texttype=5))
nooverlap_clk.add(gdstk.Label('in', (-0.425,1.865), layer=69, texttype=5))
nooverlap_clk.add(gdstk.Label('vssa', (-1.035,1.765), layer=69, texttype=5))
nooverlap_clk.add(gdstk.Label('clk0', (3,1.865), layer=69, texttype=5))
nooverlap_clk.add(gdstk.Label('clkb0', (0.54,1.865), layer=69, texttype=5))
nooverlap_clk.add(gdstk.Label('clk1', (9.85,1.865), layer=69, texttype=5))
nooverlap_clk.add(gdstk.Label('clkb1', (7.39,1.865), layer=69, texttype=5))

sky130_fd_pr__nfet_01v8_ = lib.new_cell('sky130_fd_pr__nfet_01v8_DJGLWN')
R(sky130_fd_pr__nfet_01v8_, diff, [(-0.54,-1.045,0.54,-0.545), (-0.54,0.545,0.54,1.045)])
R(sky130_fd_pr__nfet_01v8_, tap, [(-1.05,-1.915,1.05,-1.745), (-1.05,-1.745,-0.88,1.745), (0.88,-1.745,1.05,1.745), (-1.05,1.745,1.05,1.915)])
R(sky130_fd_pr__nfet_01v8_, poly, [(-0.25,-1.485,0.25,-0.105), (-0.25,0.105,0.25,1.485)])
A(sky130_fd_pr__nfet_01v8_, licon, -0.425, -1.915, 0.17, 0.17, 3, 2, 0.34, 3.66)
A(sky130_fd_pr__nfet_01v8_, licon, -1.05, -1.275, 0.17, 0.17, 1, 8, 0, 0.34)
A(sky130_fd_pr__nfet_01v8_, licon, 0.88, -1.275, 0.17, 0.17, 1, 8, 0, 0.34)
R(sky130_fd_pr__nfet_01v8_, licon, [(-0.085,-1.405,0.085,-1.235), (-0.48,-0.88,-0.31,-0.71), (0.31,-0.88,0.48,-0.71), (-0.085,-0.355,0.085,-0.185), (-0.085,0.185,0.085,0.355), (-0.48,0.71,-0.31,0.88), (0.31,0.71,0.48,0.88), (-0.085,1.235,0.085,1.405)])
R(sky130_fd_pr__nfet_01v8_, li1, [(-1.05,-1.915,1.05,-1.745), (-1.05,-1.745,-0.88,1.745), (0.88,-1.745,1.05,1.745), (-0.25,-1.405,0.25,-1.235), (-0.48,-1.065,-0.31,-0.525), (0.31,-1.065,0.48,-0.525), (-0.25,-0.355,0.25,-0.185), (-0.25,0.185,0.25,0.355), (-0.48,0.525,-0.31,1.065), (0.31,0.525,0.48,1.065), (-0.25,1.235,0.25,1.405), (-1.05,1.745,1.05,1.915)])
R(sky130_fd_pr__nfet_01v8_, mcon, [(-0.085,-1.405,0.085,-1.235), (-0.48,-0.88,-0.31,-0.71), (0.31,-0.88,0.48,-0.71), (-0.085,-0.355,0.085,-0.185), (-0.085,0.185,0.085,0.355), (-0.48,0.71,-0.31,0.88), (0.31,0.71,0.48,0.88), (-0.085,1.235,0.085,1.405)])
R(sky130_fd_pr__nfet_01v8_, met1, [(-0.23,-1.435,0.23,-1.205), (-0.51,-1.045,-0.28,-0.545), (0.28,-1.045,0.51,-0.545), (-0.23,-0.385,0.23,-0.155), (-0.23,0.155,0.23,0.385), (-0.51,0.545,-0.28,1.045), (0.28,0.545,0.51,1.045), (-0.23,1.205,0.23,1.435)])
R(sky130_fd_pr__nfet_01v8_, nsdm, [(-0.665,-1.17,0.665,-0.42), (-0.665,0.42,0.665,1.17)])
R(sky130_fd_pr__nfet_01v8_, psdm, [(-1.175,-2.04,1.175,-1.62), (-1.175,-1.62,-0.755,1.62), (0.755,-1.62,1.175,1.62), (-1.175,1.62,1.175,2.04)])
R(sky130_fd_pr__nfet_01v8_, npc, [(-0.185,-1.505,0.185,-1.135), (-0.185,-0.455,0.185,0.455), (-0.185,1.135,0.185,1.505)])
R(sky130_fd_pr__nfet_01v8_, boundary, [(-0.965,-1.83,0.965,1.83)])

sky130_fd_pr__pfet_01v8_ = lib.new_cell('sky130_fd_pr__pfet_01v8_TMYQY6')
R(sky130_fd_pr__pfet_01v8_, nwell, [(-1.23,-3.185,1.23,3.185)])
R(sky130_fd_pr__pfet_01v8_, diff, [(-0.54,-2.09,0.54,-0.59), (-0.54,0.59,0.54,2.09)])
R(sky130_fd_pr__pfet_01v8_, tap, [(-1.05,-3.005,1.05,-2.835), (-1.05,-2.835,-0.88,2.835), (0.88,-2.835,1.05,2.835), (-1.05,2.835,1.05,3.005)])
R(sky130_fd_pr__pfet_01v8_, poly, [(-0.25,-2.575,0.25,-0.105), (-0.25,0.105,0.25,2.575)])
A(sky130_fd_pr__pfet_01v8_, licon, -0.425, -3.005, 0.17, 0.17, 3, 2, 0.34, 5.84)
A(sky130_fd_pr__pfet_01v8_, licon, -1.05, -2.465, 0.17, 0.17, 1, 15, 0, 0.34)
A(sky130_fd_pr__pfet_01v8_, licon, 0.88, -2.465, 0.17, 0.17, 1, 15, 0, 0.34)
A(sky130_fd_pr__pfet_01v8_, licon, -0.48, -1.935, 0.17, 0.17, 1, 4, 0, 0.34)
A(sky130_fd_pr__pfet_01v8_, licon, 0.31, -1.935, 0.17, 0.17, 1, 4, 0, 0.34)
A(sky130_fd_pr__pfet_01v8_, licon, -0.48, 0.745, 0.17, 0.17, 1, 4, 0, 0.34)
A(sky130_fd_pr__pfet_01v8_, licon, 0.31, 0.745, 0.17, 0.17, 1, 4, 0, 0.34)
R(sky130_fd_pr__pfet_01v8_, licon, [(-0.085,-2.495,0.085,-2.325), (-0.085,-0.355,0.085,-0.185), (-0.085,0.185,0.085,0.355), (-0.085,2.325,0.085,2.495)])
R(sky130_fd_pr__pfet_01v8_, li1, [(-1.05,-3.005,1.05,-2.835), (-1.05,-2.835,-0.88,2.835), (0.88,-2.835,1.05,2.835), (-0.25,-2.495,0.25,-2.325), (-0.48,-2.11,-0.31,-0.57), (0.31,-2.11,0.48,-0.57), (-0.25,-0.355,0.25,-0.185), (-0.25,0.185,0.25,0.355), (-0.48,0.57,-0.31,2.11), (0.31,0.57,0.48,2.11), (-0.25,2.325,0.25,2.495), (-1.05,2.835,1.05,3.005)])
A(sky130_fd_pr__pfet_01v8_, mcon, -0.48, -1.965, 0.17, 0.17, 1, 4, 0, 0.36)
A(sky130_fd_pr__pfet_01v8_, mcon, 0.31, -1.965, 0.17, 0.17, 1, 4, 0, 0.36)
A(sky130_fd_pr__pfet_01v8_, mcon, -0.48, 0.715, 0.17, 0.17, 1, 4, 0, 0.36)
A(sky130_fd_pr__pfet_01v8_, mcon, 0.31, 0.715, 0.17, 0.17, 1, 4, 0, 0.36)
R(sky130_fd_pr__pfet_01v8_, mcon, [(-0.085,-2.495,0.085,-2.325), (-0.085,-0.355,0.085,-0.185), (-0.085,0.185,0.085,0.355), (-0.085,2.325,0.085,2.495)])
R(sky130_fd_pr__pfet_01v8_, met1, [(-0.23,-2.525,0.23,-2.295), (-0.51,-2.09,-0.28,-0.59), (0.28,-2.09,0.51,-0.59), (-0.23,-0.385,0.23,-0.155), (-0.23,0.155,0.23,0.385), (-0.51,0.59,-0.28,2.09), (0.28,0.59,0.51,2.09), (-0.23,2.295,0.23,2.525)])
R(sky130_fd_pr__pfet_01v8_, nsdm, [(-1.175,-3.13,1.175,-2.71), (-1.175,-2.71,-0.755,2.71), (0.755,-2.71,1.175,2.71), (-1.175,2.71,1.175,3.13)])
R(sky130_fd_pr__pfet_01v8_, psdm, [(-0.665,-2.215,0.665,-0.465), (-0.665,0.465,0.665,2.215)])
R(sky130_fd_pr__pfet_01v8_, npc, [(-0.185,-2.595,0.185,-2.225), (-0.185,-0.455,0.185,0.455), (-0.185,2.225,0.185,2.595)])
R(sky130_fd_pr__pfet_01v8_, boundary, [(-0.965,-2.92,0.965,2.92)])

dac_sw_2 = lib.new_cell('dac_sw_2')
A(dac_sw_2, li1, 7.97, -17.24, 0.17, 1.45, 3, 1, 1.93, 0)
A(dac_sw_2, li1, 3.58, -16.62, 0.17, 0.83, 3, 1, 1.93, 0)
A(dac_sw_2, mcon, 7.97, -17.085, 0.17, 0.17, 3, 1, 1.93, 0)
A(dac_sw_2, mcon, 3.58, -16.465, 0.17, 0.17, 3, 1, 1.93, 0)
R(dac_sw_2, met1_pin, [(3.4,-17.24,3.88,-16.76), (3.4,-16.62,3.88,-16.14)])
R(dac_sw_2, met1, [(3.4,-17.24,12.18,-16.76), (3.4,-16.62,12.18,-16.14), (4.47,-15.955,11.11,-15.665), (4.4,-15.495,4.86,-15.235), (6.33,-15.495,6.79,-15.235), (8.79,-15.495,9.25,-15.235), (10.72,-15.495,11.18,-15.235), (6.82,-15.09,8.76,-14.59), (9.28,-15.09,10.69,-14.59), (11.21,-15.09,11.53,-14.59), (4.05,-15.045,4.37,-13.545), (4.89,-15.045,6.3,-13.545), (6.82,-14.59,7.14,-13.545), (8.79,-14.445,9.25,-14.185), (10.72,-14.445,11.18,-14.185), (8.79,-13.905,9.25,-13.645), (10.72,-13.905,11.18,-13.645), (8.44,-13.5,8.76,-13), (9.28,-13.5,10.69,-13), (11.21,-13.5,11.53,-13), (4.4,-13.355,4.86,-13.095), (6.33,-13.355,6.79,-13.095), (8.79,-12.855,9.25,-12.595), (10.72,-12.855,11.18,-12.595), (4.4,-12.815,4.86,-12.555), (6.33,-12.815,6.79,-12.555), (4.05,-12.365,4.37,-10.865), (4.89,-12.365,6.3,-10.865), (6.82,-12.365,7.14,-10.865), (4.4,-10.675,4.86,-10.415), (6.325,-10.675,6.785,-10.415)])
A(dac_sw_2, via, 4.135, -14.99, 0.15, 0.15, 1, 3, 0, 0.62)
A(dac_sw_2, via, 4.975, -14.99, 0.15, 0.15, 1, 3, 0, 0.62)
A(dac_sw_2, via, 6.065, -14.99, 0.15, 0.15, 1, 3, 0, 0.62)
A(dac_sw_2, via, 6.905, -14.99, 0.15, 0.15, 1, 3, 0, 0.62)
R(dac_sw_2, via, [(11.295,-17.06,11.445,-16.91), (4.135,-16.44,4.285,-16.29), (10.875,-15.885,11.025,-15.735), (4.555,-15.87,4.705,-15.72), (4.555,-15.44,4.705,-15.29), (6.485,-15.44,6.635,-15.29), (8.945,-15.44,9.095,-15.29), (10.875,-15.44,11.025,-15.29), (8.525,-15.035,8.675,-14.885), (9.365,-15.035,9.515,-14.885), (10.455,-15.035,10.605,-14.885), (11.295,-15.035,11.445,-14.885), (8.945,-14.39,9.095,-14.24), (10.875,-14.39,11.025,-14.24), (8.945,-13.85,9.095,-13.7), (10.875,-13.85,11.025,-13.7), (8.525,-13.445,8.675,-13.295), (9.365,-13.445,9.515,-13.295), (10.455,-13.445,10.605,-13.295), (11.295,-13.445,11.445,-13.295), (4.555,-13.3,4.705,-13.15), (6.485,-13.3,6.635,-13.15), (8.945,-12.8,9.095,-12.65), (10.875,-12.8,11.025,-12.65), (4.555,-12.76,4.705,-12.61), (6.485,-12.76,6.635,-12.61), (4.135,-12.31,4.285,-12.16), (4.975,-12.31,5.125,-12.16), (6.065,-12.31,6.215,-12.16), (6.905,-12.31,7.055,-12.16), (4.135,-11.695,4.285,-11.545), (4.975,-11.695,5.125,-11.545), (6.065,-11.695,6.215,-11.545), (6.905,-11.695,7.055,-11.545), (4.135,-11.07,4.285,-10.92), (4.975,-11.07,5.125,-10.92), (6.065,-11.07,6.215,-10.92), (6.905,-11.07,7.055,-10.92), (4.555,-10.62,4.705,-10.47), (6.485,-10.62,6.635,-10.47)])
R(dac_sw_2, met2_pin, [(6.43,-15.495,6.69,-15.235), (8.89,-15.495,9.15,-15.235), (10.82,-12.855,11.08,-12.595), (6.85,-11.125,7.11,-10.865)])
R(dac_sw_2, met2, [(11.23,-17.24,11.51,-13.21), (4.07,-16.62,4.35,-10.835), (10.81,-15.985,11.09,-12.565), (4.49,-15.955,4.77,-10.385), (6.42,-15.525,6.7,-10.385), (8.88,-15.525,9.16,-12.565), (8.46,-15.12,8.74,-13.21), (9.3,-15.12,9.58,-13.21), (10.39,-15.12,10.67,-13.21), (4.91,-15.075,5.19,-10.835), (6,-15.075,6.28,-10.835), (6.84,-15.075,7.12,-10.835)])
dac_sw_2.add(gdstk.Reference(sky130_fd_pr__nfet_01v8_, (10.95,-14.045)))
dac_sw_2.add(gdstk.Reference(sky130_fd_pr__nfet_01v8_, (9.02,-14.045)))
dac_sw_2.add(gdstk.Reference(sky130_fd_pr__pfet_01v8_, (6.56,-12.955)))
dac_sw_2.add(gdstk.Reference(sky130_fd_pr__pfet_01v8_, (4.63,-12.955)))
dac_sw_2.add(gdstk.Label('vdda', (3.64,-16.38), layer=68, texttype=5))
dac_sw_2.add(gdstk.Label('in', (10.95,-12.725), layer=69, texttype=5))
dac_sw_2.add(gdstk.Label('ck', (9.02,-15.365), layer=69, texttype=5))
dac_sw_2.add(gdstk.Label('ckb', (6.56,-15.365), layer=69, texttype=5))
dac_sw_2.add(gdstk.Label('vssa', (3.64,-17), layer=68, texttype=5))
dac_sw_2.add(gdstk.Label('out', (6.98,-10.995), layer=69, texttype=5))

tg_sw_2 = lib.new_cell('tg_sw_2')
R(tg_sw_2, li1, [(8.25,-10.975,8.42,-9.525), (10.18,-10.975,10.35,-9.525), (5.79,-10.355,5.96,-9.525), (7.72,-10.355,7.89,-9.525)])
R(tg_sw_2, mcon, [(8.25,-10.82,8.42,-10.65), (10.18,-10.82,10.35,-10.65), (5.79,-10.2,5.96,-10.03), (7.72,-10.2,7.89,-10.03)])
R(tg_sw_2, met1_pin, [(5.61,-11.405,5.9,-11.115), (5.61,-10.975,6.09,-10.495), (5.61,-10.355,6.09,-9.875)])
R(tg_sw_2, met1, [(5.61,-11.405,10.53,-11.115), (5.61,-10.975,10.53,-10.495), (5.61,-10.355,10.53,-9.875), (6.26,-9.66,9.88,-9.4), (6.61,-9.23,7.07,-8.97), (9.07,-9.23,9.53,-8.97), (7.1,-8.825,9.04,-8.325), (9.56,-8.825,9.88,-8.325), (6.26,-8.78,6.58,-7.28), (7.1,-8.325,7.42,-7.28), (9.07,-8.18,9.53,-7.92), (9.07,-7.64,9.53,-7.38), (8.72,-7.235,9.04,-6.735), (9.56,-7.235,9.88,-6.735), (6.61,-7.09,7.07,-6.83), (9.07,-6.59,9.53,-6.33), (6.61,-6.55,7.07,-6.29), (6.26,-6.1,6.58,-4.6), (7.1,-6.1,7.42,-4.6), (6.61,-4.41,7.07,-4.15)])
A(tg_sw_2, via, 6.345, -8.725, 0.15, 0.15, 1, 3, 0, 0.62)
A(tg_sw_2, via, 7.185, -8.725, 0.15, 0.15, 1, 3, 0, 0.62)
A(tg_sw_2, via, 6.345, -6.045, 0.15, 0.15, 1, 3, 0, 0.62)
A(tg_sw_2, via, 7.185, -6.045, 0.15, 0.15, 1, 3, 0, 0.62)
R(tg_sw_2, via, [(6.345,-11.32,6.495,-11.17), (6.345,-9.605,6.495,-9.455), (9.645,-9.605,9.795,-9.455), (6.765,-9.175,6.915,-9.025), (9.225,-9.175,9.375,-9.025), (8.805,-8.77,8.955,-8.62), (9.645,-8.77,9.795,-8.62), (9.225,-8.125,9.375,-7.975), (9.225,-7.585,9.375,-7.435), (8.805,-7.18,8.955,-7.03), (9.645,-7.18,9.795,-7.03), (6.765,-7.035,6.915,-6.885), (9.225,-6.535,9.375,-6.385), (6.765,-6.495,6.915,-6.345), (6.765,-4.355,6.915,-4.205)])
R(tg_sw_2, met2_pin, [(6.71,-9.23,6.97,-8.97), (9.17,-9.23,9.43,-8.97), (7.13,-4.86,7.39,-4.6)])
R(tg_sw_2, met2, [(6.28,-11.405,6.56,-4.57), (9.58,-9.69,9.86,-6.945), (6.7,-9.26,6.98,-4.12), (9.16,-9.26,9.44,-6.3), (8.74,-8.855,9.02,-6.945), (7.12,-8.81,7.4,-4.57)])
tg_sw_2.add(gdstk.Reference(sky130_fd_pr__pfet_01v8_, (6.84,-6.69)))
tg_sw_2.add(gdstk.Reference(sky130_fd_pr__nfet_01v8_, (9.3,-7.78)))
tg_sw_2.add(gdstk.Label('vdda', (5.85,-10.115), layer=68, texttype=5))
tg_sw_2.add(gdstk.Label('swp', (6.84,-9.1), layer=69, texttype=5))
tg_sw_2.add(gdstk.Label('swn', (9.3,-9.1), layer=69, texttype=5))
tg_sw_2.add(gdstk.Label('vssa', (5.85,-10.735), layer=68, texttype=5))
tg_sw_2.add(gdstk.Label('in', (5.755,-11.26), layer=68, texttype=5))
tg_sw_2.add(gdstk.Label('out', (7.26,-4.73), layer=69, texttype=5))

cdac_sw_2 = lib.new_cell('cdac_sw_2')
R(cdac_sw_2, met1_pin, [(16.11,-22.76,16.4,-22.47), (15.92,-22.33,16.4,-21.85), (15.92,-21.71,16.4,-21.23)])
R(cdac_sw_2, met1, [(0.3,-22.76,16.4,-22.47), (1.645,-22.33,2.125,-21.88), (14,-22.33,16.4,-21.85), (3.83,-21.71,4.31,-21.26), (14,-21.71,16.4,-21.23)])
R(cdac_sw_2, via, [(1.81,-22.18,1.96,-22.03), (3.995,-21.56,4.145,-21.41)])
R(cdac_sw_2, met2, [(1.645,-23.38,2.125,-21.85), (3.83,-23.38,4.31,-21.23), (2.355,-23.18,2.635,-17.585), (3.32,-23.18,3.6,-20.315), (5.78,-23.18,6.06,-20.315), (10.17,-23.18,10.45,-20.315), (12.63,-23.18,12.91,-20.315), (7.71,-18.01,7.99,-16.945), (3.74,-16.63,4.02,-16.35), (10.59,-16.63,10.87,-16.35)])
R(cdac_sw_2, via2, [(2.395,-17.87,2.595,-17.67), (7.75,-17.23,7.95,-17.03), (3.78,-16.59,3.98,-16.39), (10.63,-16.59,10.83,-16.39)])
A(cdac_sw_2, met3_pin, 16.06, -17.94, 0.34, 0.34, 1, 3, 0, 0.64)
R(cdac_sw_2, met3, [(2.33,-17.94,16.4,-17.6), (7.685,-17.3,16.4,-16.96), (3.715,-16.66,16.4,-16.32)])
cdac_sw_2.add(gdstk.Reference(nooverlap_clk, (2.92,-24.905)))
cdac_sw_2.add(gdstk.Reference(dac_sw_2, (-3.1,-5.09)))
cdac_sw_2.add(gdstk.Reference(tg_sw_2, (3.47,-11.355)))
cdac_sw_2.add(gdstk.Label('vdda', (16.16,-21.47), layer=68, texttype=5))
cdac_sw_2.add(gdstk.Label('cki', (16.23,-17.77), layer=70, texttype=5))
cdac_sw_2.add(gdstk.Label('bi', (16.23,-17.13), layer=70, texttype=5))
cdac_sw_2.add(gdstk.Label('vcm', (16.255,-22.615), layer=68, texttype=5))
cdac_sw_2.add(gdstk.Label('vssa', (16.16,-22.09), layer=68, texttype=5))
cdac_sw_2.add(gdstk.Label('dac_out', (16.23,-16.49), layer=70, texttype=5))

lib.write_gds('cdac_sw_2.gds')
